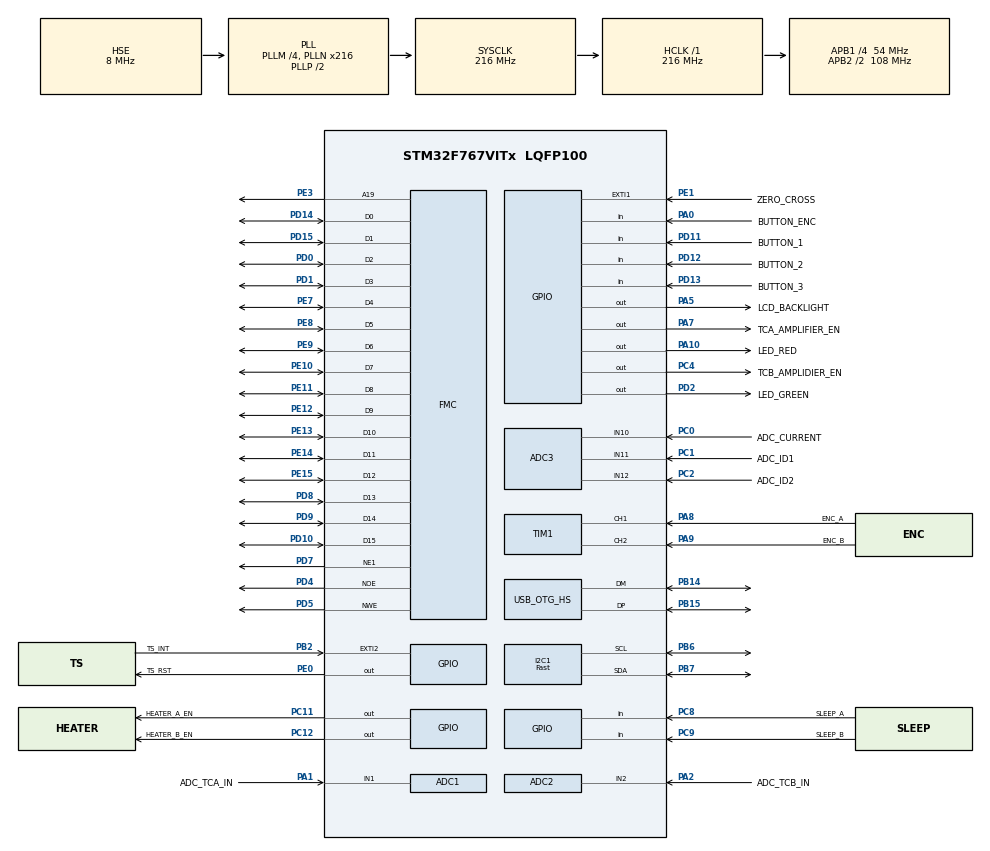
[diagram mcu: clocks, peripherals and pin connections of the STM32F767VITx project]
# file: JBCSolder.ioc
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ADC1.Channel-0\#ChannelRegularConversion=ADC_CHANNEL_1
ADC1.ExternalTrigConv=ADC_SOFTWARE_START
ADC1.NbrOfConversionFlag=1
ADC1.Rank-0\#ChannelRegularConversion=1
ADC1.SamplingTime-0\#ChannelRegularConversion=ADC_SAMPLETIME_3CYCLES
ADC1.master=1
ADC2.Channel-0\#ChannelRegularConversion=ADC_CHANNEL_2
ADC2.NbrOfConversionFlag=1
ADC2.Rank-0\#ChannelRegularConversion=1
ADC2.SamplingTime-0\#ChannelRegularConversion=ADC_SAMPLETIME_3CYCLES
ADC3.Channel-0\#ChannelRegularConversion=ADC_CHANNEL_10
ADC3.NbrOfConversionFlag=1
ADC3.Rank-0\#ChannelRegularConversion=1
ADC3.SamplingTime-0\#ChannelRegularConversion=ADC_SAMPLETIME_3CYCLES
CORTEX_M7.AccessPermission-Cortex_Memory_Protection_Unit_Region0_Settings=MPU_REGION_FULL_ACCESS
CORTEX_M7.BaseAddress-Cortex_Memory_Protection_Unit_Region0_Settings=0x60000000
CORTEX_M7.CPU_DCache=Disabled
CORTEX_M7.Enable-Cortex_Memory_Protection_Unit_Region0_Settings=MPU_REGION_ENABLE
CORTEX_M7.MPU_Control=MPU_PRIVILEGED_DEFAULT
CORTEX_M7.Size-Cortex_Memory_Protection_Unit_Region0_Settings=MPU_REGION_SIZE_512MB
Dma.MEMTOMEM.0.Direction=DMA_MEMORY_TO_MEMORY
Dma.MEMTOMEM.0.FIFOMode=DMA_FIFOMODE_ENABLE
Dma.MEMTOMEM.0.FIFOThreshold=DMA_FIFO_THRESHOLD_FULL
Dma.MEMTOMEM.0.Instance=DMA2_Stream0
Dma.MEMTOMEM.0.MemBurst=DMA_MBURST_SINGLE
Dma.MEMTOMEM.0.MemDataAlignment=DMA_MDATAALIGN_BYTE
Dma.MEMTOMEM.0.MemInc=DMA_MINC_ENABLE
Dma.MEMTOMEM.0.Mode=DMA_NORMAL
Dma.MEMTOMEM.0.PeriphBurst=DMA_PBURST_SINGLE
Dma.MEMTOMEM.0.PeriphDataAlignment=DMA_PDATAALIGN_BYTE
Dma.MEMTOMEM.0.PeriphInc=DMA_PINC_ENABLE
Dma.MEMTOMEM.0.Priority=DMA_PRIORITY_LOW
Dma.Request0=MEMTOMEM
FMC.AddressSetupTime1=10
FMC.BusTurnAroundDuration1=10
FMC.DataSetupTime1=10
FMC.ExtendedMode1=FMC_EXTENDED_MODE_DISABLE
I2C1.I2C_Speed_Mode=I2C_Fast
I2C1.Timing=0x6000030D
Mcu.Family=STM32F7
Mcu.Name=STM32F767VITx
Mcu.Package=LQFP100
NVIC.EXTI1_IRQn=true\:0\:0\:true\:false\:true\:true\:true\:true
NVIC.EXTI2_IRQn=true\:2\:0\:true\:false\:true\:true\:true\:true
NVIC.OTG_HS_IRQn=true\:2\:0\:true\:false\:true\:false\:true\:true
NVIC.PriorityGroup=NVIC_PRIORITYGROUP_4
NVIC.TIM6_DAC_IRQn=true\:1\:0\:true\:false\:true\:false\:true\:true
NVIC.TIM7_IRQn=true\:0\:0\:true\:false\:true\:true\:true\:true
NVIC.TimeBase=TIM6_DAC_IRQn
NVIC.TimeBaseIP=TIM6
PA0/WKUP.GPIO_Label=BUTTON_ENC
PA0/WKUP.Signal=GPIO_Input
PA1.GPIO_Label=ADC_TCA_IN
PA1.Signal=ADCx_IN1
PA10.GPIO_Label=LED_RED
PA10.Signal=GPIO_Output
PA2.GPIO_Label=ADC_TCB_IN
PA2.Signal=ADCx_IN2
PA5.GPIO_Label=LCD_BACKLIGHT
PA5.Signal=GPIO_Output
PA7.GPIO_Label=TCA_AMPLIFIER_EN
PA7.Signal=GPIO_Output
PA8.GPIO_Label=ENC_A
PA8.Signal=S_TIM1_CH1
PA9.GPIO_Label=ENC_B
PA9.Signal=S_TIM1_CH2
PB14.Mode=Device_Only_FS
PB14.Signal=USB_OTG_HS_DM
PB15.Mode=Device_Only_FS
PB15.Signal=USB_OTG_HS_DP
PB2.GPIO_Label=TS_INT
PB2.Signal=GPXTI2
PB6.GPIO_Pu=GPIO_PULLUP
PB6.Mode=I2C
PB6.Signal=I2C1_SCL
PB7.GPIO_Pu=GPIO_PULLUP
PB7.Mode=I2C
PB7.Signal=I2C1_SDA
PC0.GPIO_Label=ADC_CURRENT
PC0.Signal=ADCx_IN10
PC1.GPIO_Label=ADC_ID1
PC1.Signal=ADCx_IN11
PC11.GPIO_Label=HEATER_A_EN
PC11.Signal=GPIO_Output
PC12.GPIO_Label=HEATER_B_EN
PC12.Signal=GPIO_Output
PC2.GPIO_Label=ADC_ID2
PC2.Signal=ADCx_IN12
PC4.GPIO_Label=TCB_AMPLIDIER_EN
PC4.Signal=GPIO_Output
PC8.GPIO_Label=SLEEP_A
PC8.Signal=GPIO_Input
PC9.GPIO_Label=SLEEP_B
PC9.Signal=GPIO_Input
PD0.Signal=FMC_D2_DA2
PD1.Signal=FMC_D3_DA3
PD10.Signal=FMC_D15_DA15
PD11.GPIO_Label=BUTTON_1
PD11.Signal=GPIO_Input
PD12.GPIO_Label=BUTTON_2
PD12.Signal=GPIO_Input
PD13.GPIO_Label=BUTTON_3
PD13.Signal=GPIO_Input
PD14.Signal=FMC_D0_DA0
PD15.Signal=FMC_D1_DA1
PD2.GPIO_Label=LED_GREEN
PD2.Signal=GPIO_Output
PD4.Signal=FMC_NOE
PD5.Signal=FMC_NWE
PD7.Mode=NorPsramChipSelect1_1
PD7.Signal=FMC_NE1
PD8.Signal=FMC_D13_DA13
PD9.Signal=FMC_D14_DA14
PE0.GPIO_Label=TS_RST
PE0.Signal=GPIO_Output
PE1.GPIO_Label=ZERO_CROSS
PE1.Signal=GPXTI1
PE10.Signal=FMC_D7_DA7
PE11.Signal=FMC_D8_DA8
PE12.Signal=FMC_D9_DA9
PE13.Signal=FMC_D10_DA10
PE14.Signal=FMC_D11_DA11
PE15.Signal=FMC_D12_DA12
PE3.Signal=FMC_A19
PE7.Signal=FMC_D4_DA4
PE8.Signal=FMC_D5_DA5
PE9.Signal=FMC_D6_DA6
PH0/OSC_IN.Mode=HSE-External-Oscillator
PH0/OSC_IN.Signal=RCC_OSC_IN
PH1/OSC_OUT.Mode=HSE-External-Oscillator
PH1/OSC_OUT.Signal=RCC_OSC_OUT
ProjectManager.HeapSize=0x200
ProjectManager.StackSize=0x400
ProjectManager.TargetToolchain=STM32CubeIDE
RCC.AHBFreq_Value=216000000
RCC.APB1CLKDivider=RCC_HCLK_DIV4
RCC.APB1Freq_Value=54000000
RCC.APB1TimFreq_Value=108000000
RCC.APB2CLKDivider=RCC_HCLK_DIV2
RCC.APB2Freq_Value=108000000
RCC.APB2TimFreq_Value=216000000
RCC.CortexFreq_Value=216000000
RCC.HCLKFreq_Value=216000000
RCC.HSE_VALUE=8000000
RCC.HSICalibrationValue=8
RCC.HSI_VALUE=16000000
RCC.LSE_VALUE=32768
RCC.PLLM=4
RCC.PLLN=216
RCC.PLLQ=9
RCC.SYSCLKFreq_VALUE=216000000
RCC.SYSCLKSource=RCC_SYSCLKSOURCE_PLLCLK
RCC.USBFreq_Value=48000000
RCC.VCOOutputFreq_Value=432000000
SH.ADCx_IN1.0=ADC1_IN1,IN1
SH.ADCx_IN10.0=ADC3_IN10,IN10
SH.ADCx_IN11.0=ADC3_IN11,IN11
SH.ADCx_IN12.0=ADC3_IN12,IN12
SH.ADCx_IN2.0=ADC2_IN2,IN2
SH.FMC_A19.0=FMC_A19,A19_1
SH.FMC_D0_DA0.0=FMC_DA0
SH.FMC_D0_DA0.1=FMC_D0,16b-d1
SH.FMC_D10_DA10.0=FMC_DA10
SH.FMC_D10_DA10.1=FMC_D10,16b-d1
SH.FMC_D11_DA11.0=FMC_DA11
SH.FMC_D11_DA11.1=FMC_D11,16b-d1
SH.FMC_D12_DA12.0=FMC_DA12
SH.FMC_D12_DA12.1=FMC_D12,16b-d1
SH.FMC_D13_DA13.0=FMC_DA13
SH.FMC_D13_DA13.1=FMC_D13,16b-d1
SH.FMC_D14_DA14.0=FMC_DA14
SH.FMC_D14_DA14.1=FMC_D14,16b-d1
SH.FMC_D15_DA15.0=FMC_DA15
SH.FMC_D15_DA15.1=FMC_D15,16b-d1
SH.FMC_D1_DA1.0=FMC_DA1
SH.FMC_D1_DA1.1=FMC_D1,16b-d1
SH.FMC_D2_DA2.0=FMC_D2,16b-d1
SH.FMC_D3_DA3.0=FMC_D3,16b-d1
SH.FMC_D4_DA4.0=FMC_DA4
SH.FMC_D4_DA4.1=FMC_D4,16b-d1
SH.FMC_D5_DA5.0=FMC_DA5
SH.FMC_D5_DA5.1=FMC_D5,16b-d1
SH.FMC_D6_DA6.0=FMC_DA6
SH.FMC_D6_DA6.1=FMC_D6,16b-d1
SH.FMC_D7_DA7.0=FMC_DA7
SH.FMC_D7_DA7.1=FMC_D7,16b-d1
SH.FMC_D8_DA8.0=FMC_DA8
SH.FMC_D8_DA8.1=FMC_D8,16b-d1
SH.FMC_D9_DA9.0=FMC_DA9
SH.FMC_D9_DA9.1=FMC_D9,16b-d1
SH.FMC_NOE.0=FMC_NOE,Lcd1
SH.FMC_NWE.0=FMC_NWE,Lcd1
SH.S_TIM1_CH1.0=TIM1_CH1,Encoder_Interface
SH.S_TIM1_CH2.0=TIM1_CH2,Encoder_Interface
TIM1.AutoReloadPreload=TIM_AUTORELOAD_PRELOAD_ENABLE
TIM1.EncoderMode=TIM_ENCODERMODE_TI1
TIM1.IC1Filter=10
TIM1.IC2Filter=10
TIM7.AutoReloadPreload=TIM_AUTORELOAD_PRELOAD_DISABLE
TIM7.Period=1000
TIM7.Prescaler=108
TIM7.TIM_MasterOutputTrigger=TIM_TRGO_ENABLE
USB_DEVICE.CLASS_NAME_HS=CDC
USB_DEVICE.USBD_LPM_ENABLED-CDC_HS=0
USB_DEVICE.VirtualMode-CDC_HS=Cdc
USB_DEVICE.VirtualModeHS=Cdc_HS
USB_OTG_HS.VirtualMode-Device_Only_FS=Device_Only_FS
USB_OTG_HS.dma_enable-Device_Only_FS=DISABLE
VP_SYS_VS_tim6.Mode=TIM6
VP_TIM7_VS_ClockSourceINT.Mode=Enable_Timer
VP_TIM7_VS_OPM.Mode=OPM_bit
VP_USB_DEVICE_VS_USB_DEVICE_CDC_HS.Mode=CDC_HS
board=custom

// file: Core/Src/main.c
/* USER CODE BEGIN Header */
/**
 ******************************************************************************
 * @file           : main.c
 * @brief          : Main program body
 ******************************************************************************
 * @attention
 *
 * <h2><center>&copy; Copyright (c) 2020 STMicroelectronics.
 * All rights reserved.</center></h2>
 *
 * This software component is licensed by ST under BSD 3-Clause license,
 * the "License"; You may not use this file except in compliance with the
 * License. You may obtain a copy of the License at:
 *                        opensource.org/licenses/BSD-3-Clause
 *
 ******************************************************************************
 */
/* USER CODE END Header */
#include "main.h"
#include "adc.h"
#include "dma.h"
#include "i2c.h"
#include "tim.h"
#include "usb_device.h"
#include "gpio.h"
#include "fmc.h"

/* USER CODE BEGIN Includes */
#include "delay.h"
#include "eeprom.h"
#include "eeprom_cat24md1w.h"
#include "settings.h"

#include "iron.h"
#include "iron_drv.h"

#include "lvgl.h"
#include "lv_port_disp.h"
#include "input_devices.h"

// #include "hal_lvgl_touch.h"
// #include "hal_lvgl_encoder.h"

// #include "lv_demo_widget.h"
#include "main_screen.h"
#include "usbd_cdc_if.h"
#include "buzzer.h"
/* USER CODE END Includes */

/* USER CODE BEGIN PV */
iron_t *iron_a = NULL;
/* USER CODE END PV */

void SystemClock_Config(void);
static void MPU_Config(void);
/* USER CODE BEGIN PFP */
static void ui_init();
/* USER CODE END PFP */

int main(void)
{

  /* MPU Configuration--------------------------------------------------------*/
  MPU_Config();

  /* MCU Configuration--------------------------------------------------------*/

  /* Reset of all peripherals, Initializes the Flash interface and the Systick. */
  HAL_Init();

  /* Configure the system clock */
  SystemClock_Config();

  /* USER CODE BEGIN SysInit */
  /* Enable I-Cache */
  SCB_EnableICache();

  /* Enable D-Cache */
  SCB_EnableDCache();

  //  Delay_Init();
  /* USER CODE END SysInit */

  /* Initialize all configured peripherals */
  MX_GPIO_Init();
  MX_DMA_Init();
  MX_FMC_Init();
  MX_I2C1_Init();
  MX_ADC1_Init();
  MX_TIM7_Init();
  MX_TIM1_Init();
  MX_USB_DEVICE_Init();
  MX_ADC2_Init();
  MX_ADC3_Init();
  /* USER CODE BEGIN 2 */
  iron_a = iron_init(IRON_IDENTIFIER_A, &iron_hw_channel_1, "Iron A", IRON_TYPE_JBC_T245);

  // Initialize LVGL
  lv_init();           // Initialize LVGL
  lv_port_disp_init(); // Initialize display driver
  InputDevices_Init(); // Initialize input devices

  // Initialize EEPROM with CAT24MD1W driver
  cat24md1w_config_t cat24md1w_config = {
      .i2c_handle = &hi2c1,
      .device_address = CAT24MD1W_I2C_ADDRESS << 1, // Shifted for HAL
  };
  eeprom_result_t result = cat24md1w_init(&cat24md1w_config);

  if (result != EEPROM_OK)
  {
    printf("Failed to initialize CAT24MD1W EEPROM: %s\n", eeprom_result_to_string(result));
    // Handle error (e.g., log it, halt execution, etc.)
    while (1)
    {
    }
  }

  const eeprom_drv_t *cat24md1w_driver = cat24md1w_get_driver();
  result = eeprom_init(cat24md1w_driver);
  if (result != EEPROM_OK)
  {
    printf("Failed to initialize EEPROM management system: %s\n", eeprom_result_to_string(result));
    // Handle error (e.g., log it, halt execution, etc.)
    while (1)
    {
    }
  }

  printf("EEPROM initialized successfully\n");
  printf("EEPROM size: %lu bytes\n", (unsigned long)eeprom_get_size());
  printf("Page size: %u bytes\n", eeprom_get_page_size());

  load_settings();
  // HAL_Delay(10);
  // display_fill(0, 0, DISP_HOR, DISP_VER, 0xFFFF, NULL);
  // HAL_Delay(100);
  // tft_init();
  // hal_lvgl_touch_init();

  // hal_lvgl_encoder_init();

  Buzzer_Init();

  HAL_Delay(10);

  //  lv_demo_widgets();
  gui_init();
  /* USER CODE END 2 */

  /* Infinite loop */
  /* USER CODE BEGIN WHILE */
  uint8_t buffer[] = "Hello, World!\r\n";
  while (1)
  {
    /* USER CODE END WHILE */

    /* USER CODE BEGIN 3 */
    //    HAL_Delay(10);
    // lv_task_handler();
    lv_timer_handler();
    HAL_Delay(10);
    //	  CDC_Transmit_HS(buffer, sizeof(buffer));
    //	  HAL_Delay(10);
    //    temp = iron_adc_read(&hadc1);
  }
  /* USER CODE END 3 */
}

void SystemClock_Config(void)
{
  RCC_OscInitTypeDef RCC_OscInitStruct = {0};
  RCC_ClkInitTypeDef RCC_ClkInitStruct = {0};

  /** Configure the main internal regulator output voltage
   */
  __HAL_RCC_PWR_CLK_ENABLE();
  __HAL_PWR_VOLTAGESCALING_CONFIG(PWR_REGULATOR_VOLTAGE_SCALE1);

  /** Initializes the RCC Oscillators according to the specified parameters
   * in the RCC_OscInitTypeDef structure.
   */
  RCC_OscInitStruct.OscillatorType = RCC_OSCILLATORTYPE_HSE;
  RCC_OscInitStruct.HSEState = RCC_HSE_ON;
  RCC_OscInitStruct.PLL.PLLState = RCC_PLL_ON;
  RCC_OscInitStruct.PLL.PLLSource = RCC_PLLSOURCE_HSE;
  RCC_OscInitStruct.PLL.PLLM = 4;
  RCC_OscInitStruct.PLL.PLLN = 216;
  RCC_OscInitStruct.PLL.PLLP = RCC_PLLP_DIV2;
  RCC_OscInitStruct.PLL.PLLQ = 9;
  RCC_OscInitStruct.PLL.PLLR = 2;
  if (HAL_RCC_OscConfig(&RCC_OscInitStruct) != HAL_OK)
  {
    Error_Handler();
  }

  /** Activate the Over-Drive mode
   */
  if (HAL_PWREx_EnableOverDrive() != HAL_OK)
  {
    Error_Handler();
  }

  /** Initializes the CPU, AHB and APB buses clocks
   */
  RCC_ClkInitStruct.ClockType = RCC_CLOCKTYPE_HCLK | RCC_CLOCKTYPE_SYSCLK | RCC_CLOCKTYPE_PCLK1 | RCC_CLOCKTYPE_PCLK2;
  RCC_ClkInitStruct.SYSCLKSource = RCC_SYSCLKSOURCE_PLLCLK;
  RCC_ClkInitStruct.AHBCLKDivider = RCC_SYSCLK_DIV1;
  RCC_ClkInitStruct.APB1CLKDivider = RCC_HCLK_DIV4;
  RCC_ClkInitStruct.APB2CLKDivider = RCC_HCLK_DIV2;

  if (HAL_RCC_ClockConfig(&RCC_ClkInitStruct, FLASH_LATENCY_7) != HAL_OK)
  {
    Error_Handler();
  }
}

/* MPU Configuration */

void MPU_Config(void)
{
  MPU_Region_InitTypeDef MPU_InitStruct = {0};

  /* Disables the MPU */
  HAL_MPU_Disable();

  /** Initializes and configures the Region and the memory to be protected
   */
  MPU_InitStruct.Enable = MPU_REGION_ENABLE;
  MPU_InitStruct.Number = MPU_REGION_NUMBER0;
  MPU_InitStruct.BaseAddress = 0x60000000;
  MPU_InitStruct.Size = MPU_REGION_SIZE_512MB;
  MPU_InitStruct.SubRegionDisable = 0x0;
  MPU_InitStruct.TypeExtField = MPU_TEX_LEVEL0;
  MPU_InitStruct.AccessPermission = MPU_REGION_FULL_ACCESS;
  MPU_InitStruct.DisableExec = MPU_INSTRUCTION_ACCESS_ENABLE;
  MPU_InitStruct.IsShareable = MPU_ACCESS_NOT_SHAREABLE;
  MPU_InitStruct.IsCacheable = MPU_ACCESS_NOT_CACHEABLE;
  MPU_InitStruct.IsBufferable = MPU_ACCESS_NOT_BUFFERABLE;

  HAL_MPU_ConfigRegion(&MPU_InitStruct);
  /* Enables the MPU */
  HAL_MPU_Enable(MPU_PRIVILEGED_DEFAULT);
}

void HAL_TIM_PeriodElapsedCallback(TIM_HandleTypeDef *htim)
{
  if (htim->Instance == TIM6)
  {
    HAL_IncTick();
  }
}

void Error_Handler(void)
{
  __disable_irq();
  while (1)
  {
  }
}

#ifdef USE_FULL_ASSERT
/**
 * @brief  Reports the name of the source file and the source line number
 *         where the assert_param error has occurred.
 * @param  file: pointer to the source file name
 * @param  line: assert_param error line source number
 * @retval None
 */
void assert_failed(uint8_t *file, uint32_t line)
{
  /* USER CODE BEGIN 6 */
  /* User can add his own implementation to report the file name and line number,
     ex: printf("Wrong parameters value: file %s on line %d\r\n", file, line) */
  printf("Wrong parameters value: file %s on line %d\r\n", file, line);

  while (1)
  {
  }
  /* USER CODE END 6 */
}
#endif /* USE_FULL_ASSERT */
